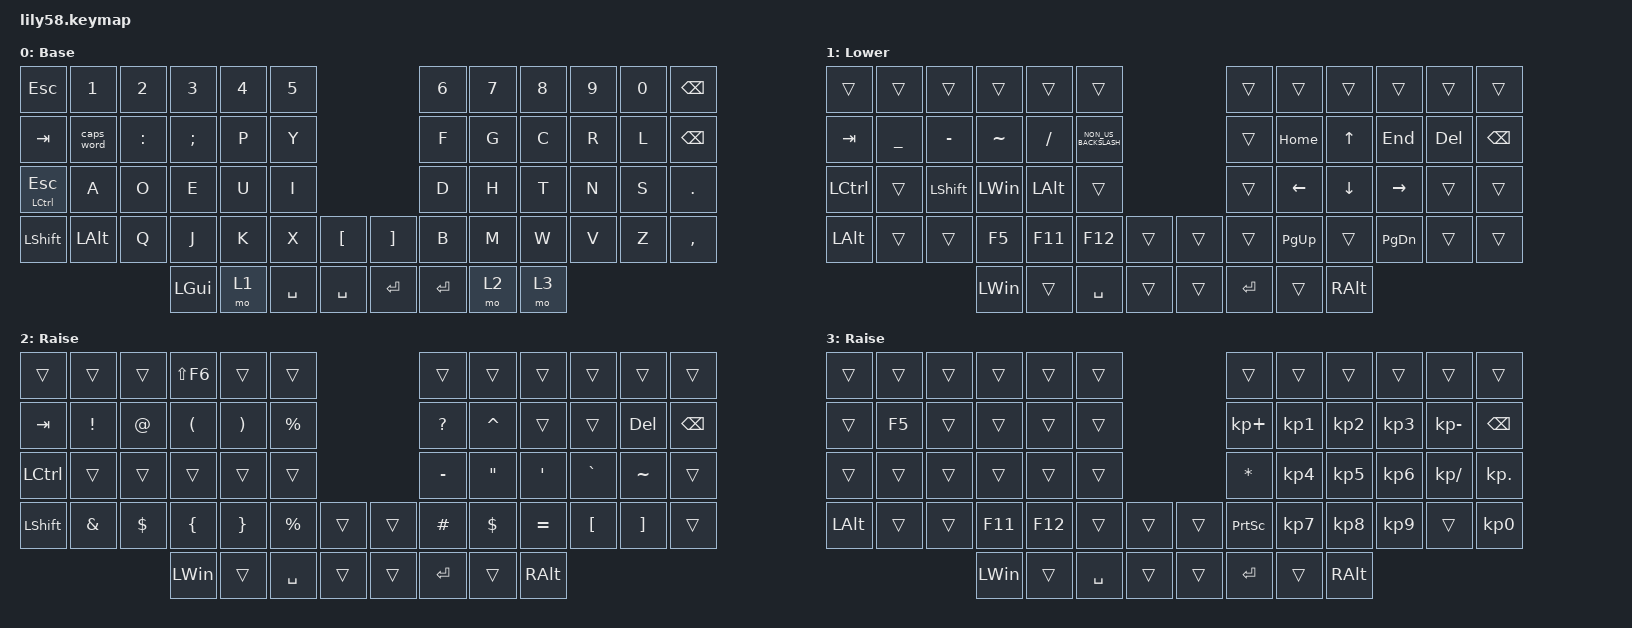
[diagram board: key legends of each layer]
/*
 * Copyright (c) 2020 The ZMK Contributors
 *
 * SPDX-License-Identifier: MIT
 */

#include <behaviors.dtsi>
#include <dt-bindings/zmk/keys.h>

/ {
    keymap {
        compatible = "zmk,keymap";

        default_layer {
            // ------------------------------------------------------------------------------------------------------------
            // |  ESC  |  1  |  2  |  3   |  4   |  5   |                   |  6   |  7    |  8    |  9   |   0   |   `   |
            // |  TAB  |  Q  |  W  |  E   |  R   |  T   |                   |  Y   |  U    |  I    |  O   |   P   |   -   |
            // |  CTRL |  A  |  S  |  D   |  F   |  G   |                   |  H   |  J    |  K    |  L   |   ;   |   '   |
            // | SHIFT |  Z  |  X  |  C   |  V   |  B   |   "["  |  |  "]"  |  N   |  M    |  ,    |  .   |   /   | SHIFT |
            //                     | ALT  | GUI  | LOWER|  SPACE |  | ENTER | RAISE| BSPC  | GUI   |

            display-name = "Base";
            bindings = <
&kp ESC           &kp N1        &kp N2     &kp N3         &kp N4  &kp N5                            &kp N6     &kp N7  &kp N8  &kp N9  &kp N0  &kp BACKSPACE
&kp TAB           &caps_word    &kp COLON  &kp SEMICOLON  &kp P   &kp Y                             &kp F      &kp G   &kp C   &kp R   &kp L   &kp BACKSPACE
&mt LCTRL ESCAPE  &kp A         &kp O      &kp E          &kp U   &kp I                             &kp D      &kp H   &kp T   &kp N   &kp S   &kp DOT
&kp LSHFT         &kp LEFT_ALT  &kp Q      &kp J          &kp K   &kp X      &kp LBKT     &kp RBKT  &kp B      &kp M   &kp W   &kp V   &kp Z   &kp COMMA
                                           &kp LEFT_GUI   &mo 1   &kp SPACE  &kp SPACE    &kp RET   &kp ENTER  &mo 2   &mo 3
            >;
        };

        lower_layer {
            // ------------------------------------------------------------------------------------------------------------
            // | BTCLR | BT1 | BT2 |  BT3 |  BT4 |  BT5 |                   |      |       |       |      |       |       |
            // |  F1   |  F2 |  F3 |  F4  |  F5  |  F6  |                   |  F7  |  F8   |  F9   |  F10 |  F11  |  F12  |
            // |   `   |  !  |  @  |  #   |  $   |  %   |                   |  ^   |  &    |  *    |  (   |   )   |   ~   |
            // |       |     |     |      |      |      |        |  |       |      |  _    |  +    |  {   |   }   |  "|"  |
            //                     |      |      |      |        |  |       |      |       |       |

            display-name = "Lower";
            bindings = <
&trans            &trans     &trans          &trans        &trans        &trans                                  &trans     &trans          &trans          &trans           &trans      &trans
&kp TAB           &kp UNDER  &kp MINUS       &kp TILDE     &kp SLASH     &kp NON_US_BACKSLASH                    &trans     &kp HOME        &kp UP_ARROW    &kp END          &kp DELETE  &kp BACKSPACE
&kp LEFT_CONTROL  &trans     &kp LEFT_SHIFT  &kp LEFT_WIN  &kp LEFT_ALT  &trans                                  &trans     &kp LEFT_ARROW  &kp DOWN_ARROW  &kp RIGHT_ARROW  &trans      &trans
&kp LEFT_ALT      &trans     &trans          &kp F5        &kp F11       &kp F12               &trans    &trans  &trans     &kp PAGE_UP     &trans          &kp PAGE_DOWN    &trans      &trans
                                             &kp LEFT_WIN  &trans        &kp SPACE             &trans    &trans  &kp ENTER  &trans          &kp RIGHT_ALT
            >;
        };

        raise_layer {
            // ------------------------------------------------------------------------------------------------------------
            // |       |     |     |      |      |      |                   |      |       |       |      |       |       |
            // |   `   |  1  |  2  |  3   |  4   |  5   |                   |  6   |   7   |   8   |  9   |   0   |       |
            // |   F1  |  F2 |  F3 |  F4  |  F5  |  F6  |                   |      |   <-  |   v   |  ^   |  ->   |       |
            // |   F7  |  F8 |  F9 |  F10 |  F11 |  F12 |        |  |       |  +   |   -   |   =   |  [   |   ]   |   \   |
            //                     |      |      |      |        |  |       |      |       |       |

            display-name = "Raise";
            bindings = <
&trans            &trans           &trans       &kp LS(F6)            &trans                 &trans                         &trans        &trans             &trans            &trans     &trans      &trans
&kp TAB           &kp EXCLAMATION  &kp AT_SIGN  &kp LEFT_PARENTHESIS  &kp RIGHT_PARENTHESIS  &kp PERCENT                    &kp QUESTION  &kp CARET          &trans            &trans     &kp DELETE  &kp BACKSPACE
&kp LEFT_CONTROL  &trans           &trans       &trans                &trans                 &trans                         &kp MINUS     &kp DOUBLE_QUOTES  &kp SINGLE_QUOTE  &kp GRAVE  &kp TILDE   &trans
&kp LEFT_SHIFT    &kp AMPS         &kp DOLLAR   &kp LEFT_BRACE        &kp RIGHT_BRACE        &kp PERCENT  &trans    &trans  &kp HASH      &kp DOLLAR         &kp EQUAL         &kp LBKT   &kp RBKT    &trans
                                                &kp LEFT_WIN          &trans                 &kp SPACE    &trans    &trans  &kp ENTER     &trans             &kp RIGHT_ALT
            >;
        };

        layer_3 {
            display-name = "Raise";
            bindings = <
&trans        &trans  &trans  &trans        &trans   &trans                       &trans           &trans           &trans           &trans           &trans         &trans
&trans        &kp F5  &trans  &trans        &trans   &trans                       &kp KP_PLUS      &kp KP_NUMBER_1  &kp KP_NUMBER_2  &kp KP_NUMBER_3  &kp KP_MINUS   &kp BACKSPACE
&trans        &trans  &trans  &trans        &trans   &trans                       &kp ASTERISK     &kp KP_NUMBER_4  &kp KP_NUMBER_5  &kp KP_NUMBER_6  &kp KP_DIVIDE  &kp KP_DOT
&kp LEFT_ALT  &trans  &trans  &kp F11       &kp F12  &trans     &trans    &trans  &kp PRINTSCREEN  &kp KP_NUMBER_7  &kp KP_NUMBER_8  &kp KP_NUMBER_9  &trans         &kp KP_NUMBER_0
                              &kp LEFT_WIN  &trans   &kp SPACE  &trans    &trans  &kp ENTER        &trans           &kp RIGHT_ALT
            >;
        };

        extra_1 { status = "reserved"; };

        extra_2 { status = "reserved"; };

        extra_3 { status = "reserved"; };
    };
};
